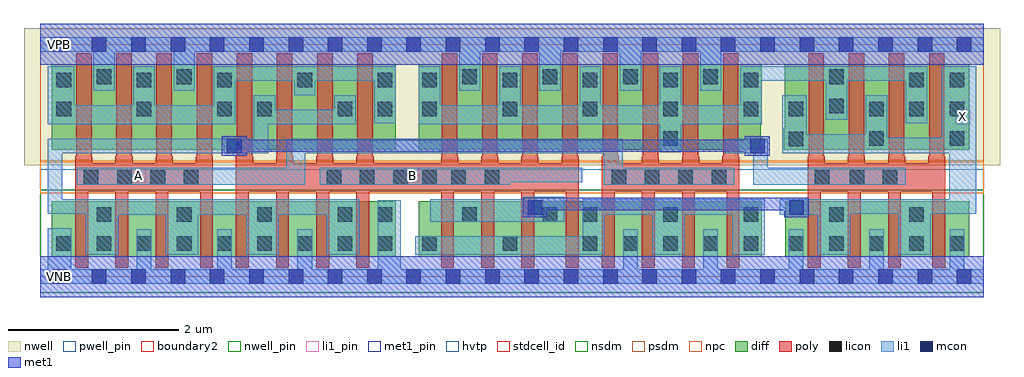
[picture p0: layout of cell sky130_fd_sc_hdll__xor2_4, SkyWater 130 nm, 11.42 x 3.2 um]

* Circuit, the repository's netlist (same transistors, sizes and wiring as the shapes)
* Copyright 2020 The SkyWater PDK Authors
*
* Licensed under the Apache License, Version 2.0 (the "License");
* you may not use this file except in compliance with the License.
* You may obtain a copy of the License at
*
*     https://www.apache.org/licenses/LICENSE-2.0
*
* Unless required by applicable law or agreed to in writing, software
* distributed under the License is distributed on an "AS IS" BASIS,
* WITHOUT WARRANTIES OR CONDITIONS OF ANY KIND, either express or implied.
* See the License for the specific language governing permissions and
* limitations under the License.
*
* SPDX-License-Identifier: Apache-2.0

.SUBCKT sky130_fd_sc_hdll__xor2_4 A B VGND VNB VPB VPWR X
*.PININFO A:I B:I VGND:I VNB:I VPB:I VPWR:I X:O
MMNnor0 inor A VGND VNB sky130_fd_pr__nfet_01v8 m=4 w=0.65U l=0.15U mult=1 sa=0.265
+ sb=0.265 sd=0.28 area=0.063 perim=1.14
MMNnor1 inor B VGND VNB sky130_fd_pr__nfet_01v8 m=4 w=0.65U l=0.15U mult=1 sa=0.265
+ sb=0.265 sd=0.28 area=0.063 perim=1.14
MMNaoi10 VGND A sndNA VNB sky130_fd_pr__nfet_01v8 m=4 w=0.65U l=0.15U mult=1 sa=0.265
+ sb=0.265 sd=0.28 area=0.063 perim=1.14
MMNaoi11 sndNA B X VNB sky130_fd_pr__nfet_01v8 m=4 w=0.65U l=0.15U mult=1 sa=0.265
+ sb=0.265 sd=0.28 area=0.063 perim=1.14
MMNaoi20 X inor VGND VNB sky130_fd_pr__nfet_01v8 m=4 w=0.65U l=0.15U mult=1 sa=0.265
+ sb=0.265 sd=0.28 area=0.063 perim=1.14
MMPnor0 VPWR A sndPA VPB sky130_fd_pr__pfet_01v8_hvt m=4 w=1.0U l=0.18U mult=1
+ sa=0.265 sb=0.265 sd=0.28 area=0.063 perim=1.14
MMPnor1 sndPA B inor VPB sky130_fd_pr__pfet_01v8_hvt m=4 w=1.0U l=0.18U mult=1
+ sa=0.265 sb=0.265 sd=0.28 area=0.063 perim=1.14
MMPaoi10 pmid A VPWR VPB sky130_fd_pr__pfet_01v8_hvt m=4 w=1.0U l=0.18U mult=1
+ sa=0.265 sb=0.265 sd=0.28 area=0.063 perim=1.14
MMPaoi11 pmid B VPWR VPB sky130_fd_pr__pfet_01v8_hvt m=4 w=1.0U l=0.18U mult=1
+ sa=0.265 sb=0.265 sd=0.28 area=0.063 perim=1.14
MMPaoi20 X inor pmid VPB sky130_fd_pr__pfet_01v8_hvt m=4 w=1.0U l=0.18U mult=1
+ sa=0.265 sb=0.265 sd=0.28 area=0.063 perim=1.14
.ENDS sky130_fd_sc_hdll__xor2_4

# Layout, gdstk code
import gdstk
lib = gdstk.Library(unit=1e-6, precision=1e-09)
def R(c, l, rs):  # rectangles x0, y0, x1, y1
    for r in rs: c.add(gdstk.rectangle(r[:2], r[2:], *l))
def A(c, l, x, y, w, h, nx, ny, dx, dy):  # array of equal rectangles
    R(c, l, [(x+i*dx, y+j*dy, x+i*dx+w, y+j*dy+h) for i in range(nx) for j in range(ny)])
def P(c, l, *ps):  # polygons
    for p in ps: c.add(gdstk.Polygon(p, *l))
nwell_pin = (64, 16)
nwell = (64, 20)
diff = (65, 20)
poly = (66, 20)
licon = (66, 44)
li1_pin = (67, 16)
li1 = (67, 20)
mcon = (67, 44)
met1_pin = (68, 16)
met1 = (68, 20)
hvtp = (78, 44)
stdcell_id = (81, 4)
nsdm = (93, 44)
psdm = (94, 20)
npc = (95, 20)
pwell_pin = (122, 16)
boundary2 = (236, 0)

sky130_fd_sc_hdll__xor2_ = lib.new_cell('sky130_fd_sc_hdll__xor2_4')
R(sky130_fd_sc_hdll__xor2_, nwell_pin, [(0.145,2.635,0.315,2.805)])
R(sky130_fd_sc_hdll__xor2_, nwell, [(-0.19,1.305,11.23,2.91)])
R(sky130_fd_sc_hdll__xor2_, diff, [(0.135,0.235,4.16,0.885), (4.43,0.235,8.44,0.885), (8.72,0.235,10.87,0.885), (0.135,1.485,4.16,2.485)])
P(sky130_fd_sc_hdll__xor2_, diff, [(8.44,2.485),(4.43,2.485),(4.43,1.485),(8.43,1.485),(8.43,1.805),(8.44,1.805)],
  [(10.87,2.485),(8.71,2.485),(8.71,1.73),(8.7,1.73),(8.7,1.485),(10.87,1.485)])
P(sky130_fd_sc_hdll__xor2_, poly, [(2.02,1.41),(2.01,1.41),(2.01,2.615),(1.83,2.615),(1.83,1.41),(1.82,1.41),(1.82,1.325),(1.55,1.325),(1.55,1.41),(1.54,1.41),(1.54,2.615),(1.36,2.615),(1.36,1.41),(1.35,1.41),(1.35,1.325),(1.08,1.325),(1.08,1.41),(1.07,1.41),(1.07,2.615),(0.89,2.615),(0.89,1.41),(0.88,1.41),(0.88,1.325),(0.61,1.325),(0.61,1.41),(0.6,1.41),(0.6,2.615),(0.42,2.615),(0.42,1.41),(0.41,1.41),(0.41,0.105),(0.56,0.105),(0.56,0.995),(0.88,0.995),(0.88,0.105),(1.03,0.105),(1.03,0.995),(1.35,0.995),(1.35,0.105),(1.5,0.105),(1.5,0.995),(1.87,0.995),(1.87,0.105),(2.02,0.105)],
  [(6.3,1.41),(6.29,1.41),(6.29,2.615),(6.11,2.615),(6.11,1.41),(6.1,1.41),(6.1,1.325),(5.83,1.325),(5.83,1.41),(5.82,1.41),(5.82,2.615),(5.64,2.615),(5.64,1.41),(5.63,1.41),(5.63,1.325),(5.36,1.325),(5.36,1.41),(5.35,1.41),(5.35,2.615),(5.17,2.615),(5.17,1.41),(5.16,1.41),(5.16,1.325),(4.89,1.325),(4.89,1.41),(4.88,1.41),(4.88,2.615),(4.7,2.615),(4.7,1.41),(4.69,1.41),(4.69,1.325),(3.9,1.325),(3.9,1.41),(3.89,1.41),(3.89,2.615),(3.71,2.615),(3.71,1.41),(3.7,1.41),(3.7,1.325),(3.43,1.325),(3.43,1.41),(3.42,1.41),(3.42,2.615),(3.24,2.615),(3.24,1.41),(3.23,1.41),(3.23,1.325),(2.96,1.325),(2.96,1.41),(2.95,1.41),(2.95,2.615),(2.77,2.615),(2.77,1.41),(2.76,1.41),(2.76,1.325),(2.49,1.325),(2.49,1.41),(2.48,1.41),(2.48,2.615),(2.3,2.615),(2.3,1.41),(2.29,1.41),(2.29,0.105),(2.44,0.105),(2.44,0.995),(2.76,0.995),(2.76,0.105),(2.91,0.105),(2.91,0.995),(3.23,0.995),(3.23,0.105),(3.38,0.105),(3.38,0.995),(3.7,0.995),(3.7,0.105),(3.85,0.105),(3.85,0.995),(4.69,0.995),(4.69,0.105),(4.84,0.105),(4.84,0.995),(5.16,0.995),(5.16,0.105),(5.31,0.105),(5.31,0.995),(5.63,0.995),(5.63,0.105),(5.78,0.105),(5.78,0.995),(6.15,0.995),(6.15,0.105),(6.3,0.105)],
  [(8.18,1.41),(8.17,1.41),(8.17,2.615),(7.99,2.615),(7.99,1.41),(7.98,1.41),(7.98,1.325),(7.71,1.325),(7.71,1.41),(7.7,1.41),(7.7,2.615),(7.52,2.615),(7.52,1.41),(7.51,1.41),(7.51,1.325),(7.24,1.325),(7.24,1.41),(7.23,1.41),(7.23,2.615),(7.05,2.615),(7.05,1.41),(7.04,1.41),(7.04,1.325),(6.77,1.325),(6.77,1.41),(6.76,1.41),(6.76,2.615),(6.58,2.615),(6.58,1.41),(6.57,1.41),(6.57,0.105),(6.72,0.105),(6.72,0.995),(7.04,0.995),(7.04,0.105),(7.19,0.105),(7.19,0.995),(7.51,0.995),(7.51,0.105),(7.66,0.105),(7.66,0.995),(8.03,0.995),(8.03,0.105),(8.18,0.105)],
  [(10.59,1.41),(10.58,1.41),(10.58,2.615),(10.4,2.615),(10.4,1.41),(10.39,1.41),(10.39,1.325),(10.12,1.325),(10.12,1.41),(10.11,1.41),(10.11,2.615),(9.93,2.615),(9.93,1.41),(9.92,1.41),(9.92,1.325),(9.65,1.325),(9.65,1.41),(9.64,1.41),(9.64,2.615),(9.46,2.615),(9.46,1.41),(9.45,1.41),(9.45,1.325),(9.18,1.325),(9.18,1.41),(9.17,1.41),(9.17,2.615),(8.99,2.615),(8.99,1.41),(8.98,1.41),(8.98,0.105),(9.13,0.105),(9.13,0.995),(9.45,0.995),(9.45,0.105),(9.6,0.105),(9.6,0.995),(9.92,0.995),(9.92,0.105),(10.07,0.105),(10.07,0.995),(10.44,0.995),(10.44,0.105),(10.59,0.105)])
A(sky130_fd_sc_hdll__xor2_, licon, 0.19, 0.305, 0.17, 0.17, 9, 1, 0.47, 0)
A(sky130_fd_sc_hdll__xor2_, licon, 4.47, 0.305, 0.17, 0.17, 3, 1, 0.94, 0)
A(sky130_fd_sc_hdll__xor2_, licon, 6.82, 0.305, 0.17, 0.17, 4, 1, 0.47, 0)
A(sky130_fd_sc_hdll__xor2_, licon, 8.76, 0.305, 0.17, 0.17, 5, 1, 0.47, 0)
A(sky130_fd_sc_hdll__xor2_, licon, 0.66, 0.645, 0.17, 0.17, 4, 1, 0.94, 0)
A(sky130_fd_sc_hdll__xor2_, licon, 6.35, 0.645, 0.17, 0.17, 3, 1, 0.94, 0)
A(sky130_fd_sc_hdll__xor2_, licon, 0.51, 1.075, 0.17, 0.17, 4, 1, 0.39, 0)
A(sky130_fd_sc_hdll__xor2_, licon, 3.35, 1.075, 0.17, 0.17, 3, 1, 0.39, 0)
A(sky130_fd_sc_hdll__xor2_, licon, 6.685, 1.075, 0.17, 0.17, 4, 1, 0.39, 0)
A(sky130_fd_sc_hdll__xor2_, licon, 0.19, 1.875, 0.17, 0.17, 3, 1, 0.94, 0)
A(sky130_fd_sc_hdll__xor2_, licon, 4.47, 1.875, 0.17, 0.17, 5, 2, 0.94, 0.34)
A(sky130_fd_sc_hdll__xor2_, licon, 9.7, 1.875, 0.17, 0.17, 3, 1, 0.47, 0)
A(sky130_fd_sc_hdll__xor2_, licon, 0.19, 2.215, 0.17, 0.17, 5, 1, 0.94, 0)
A(sky130_fd_sc_hdll__xor2_, licon, 4.94, 2.255, 0.17, 0.17, 4, 1, 0.94, 0)
R(sky130_fd_sc_hdll__xor2_, licon, [(3.95,0.645,4.12,0.815), (4.94,0.645,5.11,0.815), (5.88,0.645,6.05,0.815), (9.23,0.645,9.4,0.815), (10.17,0.645,10.34,0.815), (4.47,1.075,4.64,1.245), (4.81,1.075,4.98,1.245), (5.2,1.075,5.37,1.245), (9.06,1.075,9.23,1.245), (9.47,1.075,9.64,1.245), (9.86,1.075,10.03,1.245), (8.76,1.525,8.93,1.695), (7.29,1.535,7.46,1.705), (9.7,1.535,9.87,1.705), (10.64,1.535,10.81,1.705), (2.54,1.875,2.71,2.045), (3.48,1.875,3.65,2.045), (3.95,1.875,4.12,2.045), (8.76,1.875,8.93,2.045), (9.23,1.915,9.4,2.085), (10.17,2.215,10.34,2.385), (10.64,2.215,10.81,2.385), (0.66,2.255,0.83,2.425), (1.6,2.255,1.77,2.425), (9.23,2.255,9.4,2.425)])
R(sky130_fd_sc_hdll__xor2_, li1_pin, [(1.065,1.105,1.235,1.275), (4.265,1.105,4.435,1.275), (10.715,1.785,10.885,1.955)])
P(sky130_fd_sc_hdll__xor2_, li1, [(4.16,2.465),(2.03,2.465),(2.03,2.005),(1.34,2.005),(1.34,2.465),(1.09,2.465),(1.09,2.005),(0.4,2.005),(0.4,2.465),(0.085,2.465),(0.085,1.785),(2.28,1.785),(2.28,2.295),(2.97,2.295),(2.97,2.125),(3.22,2.125),(3.22,2.295),(3.91,2.295),(3.91,1.795),(4.16,1.795)],
  [(6.13,0.935),(5.65,0.935),(5.65,0.905),(4.565,0.905),(4.565,0.645),(6.13,0.645)],
  [(11.04,2.805),(0,2.805),(0,2.635),(0.62,2.635),(0.62,2.175),(0.87,2.175),(0.87,2.635),(1.56,2.635),(1.56,2.175),(1.81,2.175),(1.81,2.635),(4.9,2.635),(4.9,2.175),(5.15,2.175),(5.15,2.635),(5.84,2.635),(5.84,2.175),(6.09,2.175),(6.09,2.635),(6.78,2.635),(6.78,2.175),(7.03,2.175),(7.03,2.635),(7.72,2.635),(7.72,2.175),(7.97,2.175),(7.97,2.635),(11.04,2.635)],
  [(6.34,1.275),(3.27,1.275),(3.27,1.075),(5.5,1.075),(5.5,1.105),(6.34,1.105)],
  [(8.12,1.275),(6.815,1.275),(6.815,1.615),(2.88,1.615),(2.88,1.275),(0.425,1.275),(0.425,1.075),(3.1,1.075),(3.1,1.445),(6.595,1.445),(6.595,1.075),(8.12,1.075)],
  [(10.955,2.465),(10.55,2.465),(10.55,1.625),(9.91,1.625),(9.91,2.125),(9.66,2.125),(9.66,1.665),(8.97,1.665),(8.97,2.125),(8.68,2.125),(8.68,1.445),(10.635,1.445),(10.635,0.905),(8.65,0.905),(8.65,0.725),(9.1,0.725),(9.1,0.255),(9.48,0.255),(9.48,0.735),(10.04,0.735),(10.04,0.255),(10.42,0.255),(10.42,0.735),(10.955,0.735)],
  [(10.13,1.275),(8.51,1.275),(8.51,1.615),(8.01,1.615),(8.01,1.445),(8.34,1.445),(8.34,1.075),(10.13,1.075)],
  [(3.73,0.905),(0.255,0.905),(0.255,1.445),(2.67,1.445),(2.67,1.785),(3.69,1.785),(3.69,2.125),(3.44,2.125),(3.44,1.955),(2.75,1.955),(2.75,2.125),(2.5,2.125),(2.5,1.615),(0.085,1.615),(0.085,0.735),(0.53,0.735),(0.53,0.255),(0.91,0.255),(0.91,0.725),(1.47,0.725),(1.47,0.255),(1.85,0.255),(1.85,0.725),(2.41,0.725),(2.41,0.255),(2.79,0.255),(2.79,0.725),(3.35,0.725),(3.35,0.255),(3.73,0.255)],
  [(8.48,0.905),(6.35,0.905),(6.35,0.475),(4.39,0.475),(4.39,0.255),(6.6,0.255),(6.6,0.725),(7.16,0.725),(7.16,0.255),(7.54,0.255),(7.54,0.725),(8.1,0.725),(8.1,0.255),(8.48,0.255)],
  [(10.38,2.465),(8.19,2.465),(8.19,2.005),(7.5,2.005),(7.5,2.465),(7.25,2.465),(7.25,2.005),(6.56,2.005),(6.56,2.465),(6.31,2.465),(6.31,2.005),(5.62,2.005),(5.62,2.465),(5.37,2.465),(5.37,2.005),(4.68,2.005),(4.68,2.465),(4.43,2.465),(4.43,1.785),(7.25,1.785),(7.25,1.455),(7.5,1.455),(7.5,1.785),(8.44,1.785),(8.44,2.295),(9.19,2.295),(9.19,1.835),(9.44,1.835),(9.44,2.295),(10.13,2.295),(10.13,1.795),(10.38,1.795)],
  [(11.04,0.085),(10.81,0.085),(10.81,0.555),(10.64,0.555),(10.64,0.085),(9.87,0.085),(9.87,0.555),(9.7,0.555),(9.7,0.085),(8.93,0.085),(8.93,0.555),(8.76,0.555),(8.76,0.085),(7.93,0.085),(7.93,0.555),(7.76,0.555),(7.76,0.085),(6.99,0.085),(6.99,0.555),(6.82,0.555),(6.82,0.085),(4.22,0.085),(4.22,0.895),(3.95,0.895),(3.95,0.085),(3.18,0.085),(3.18,0.555),(3.01,0.555),(3.01,0.085),(2.24,0.085),(2.24,0.555),(2.07,0.555),(2.07,0.085),(1.3,0.085),(1.3,0.555),(1.13,0.555),(1.13,0.085),(0.36,0.085),(0.36,0.565),(0.085,0.565),(0.085,0.085),(0,0.085),(0,-0.085),(11.04,-0.085)])
A(sky130_fd_sc_hdll__xor2_, mcon, 0.145, -0.085, 0.17, 0.17, 24, 2, 0.46, 2.72)
R(sky130_fd_sc_hdll__xor2_, mcon, [(5.705,0.725,5.875,0.895), (8.765,0.725,8.935,0.895), (2.185,1.445,2.355,1.615), (8.305,1.445,8.475,1.615)])
R(sky130_fd_sc_hdll__xor2_, met1_pin, [(0.145,-0.085,0.315,0.085), (0.145,2.635,0.315,2.805)])
R(sky130_fd_sc_hdll__xor2_, met1, [(0,-0.24,11.04,0.24), (0,2.48,11.04,2.96)])
P(sky130_fd_sc_hdll__xor2_, met1, [(8.535,1.645),(8.245,1.645),(8.245,1.6),(2.415,1.6),(2.415,1.645),(2.125,1.645),(2.125,1.415),(2.415,1.415),(2.415,1.46),(8.245,1.46),(8.245,1.415),(8.535,1.415)],
  [(8.995,0.925),(5.645,0.925),(5.645,0.695),(5.935,0.695),(5.935,0.78),(8.705,0.78),(8.705,0.695),(8.995,0.695)])
R(sky130_fd_sc_hdll__xor2_, hvtp, [(0,1.25,11.04,2.72)])
R(sky130_fd_sc_hdll__xor2_, stdcell_id, [(0,0,11.04,2.72)])
R(sky130_fd_sc_hdll__xor2_, nsdm, [(0,-0.19,11.04,1.015)])
R(sky130_fd_sc_hdll__xor2_, psdm, [(0,1.355,11.04,2.91)])
R(sky130_fd_sc_hdll__xor2_, npc, [(0,0.975,11.04,1.345)])
R(sky130_fd_sc_hdll__xor2_, pwell_pin, [(0.145,-0.085,0.315,0.085)])
R(sky130_fd_sc_hdll__xor2_, boundary2, [(0,0,11.04,2.72)])
sky130_fd_sc_hdll__xor2_.add(gdstk.Label('X', (10.795,1.87), layer=67, texttype=5))
sky130_fd_sc_hdll__xor2_.add(gdstk.Label('B', (4.355,1.19), layer=67, texttype=5))
sky130_fd_sc_hdll__xor2_.add(gdstk.Label('A', (1.15,1.19), layer=67, texttype=5))
sky130_fd_sc_hdll__xor2_.add(gdstk.Label('VNB', (0.23,0), layer=64, texttype=59))
sky130_fd_sc_hdll__xor2_.add(gdstk.Label('VPB', (0.23,2.72), layer=64, texttype=5))
sky130_fd_sc_hdll__xor2_.add(gdstk.Label('VGND', (0.23,0), layer=68, texttype=5))
sky130_fd_sc_hdll__xor2_.add(gdstk.Label('VPWR', (0.23,2.72), layer=68, texttype=5))
sky130_fd_sc_hdll__xor2_.add(gdstk.Label('xor2_4', (0,0), layer=83, texttype=44))

lib.write_gds('sky130_fd_sc_hdll__xor2_4.gds')
